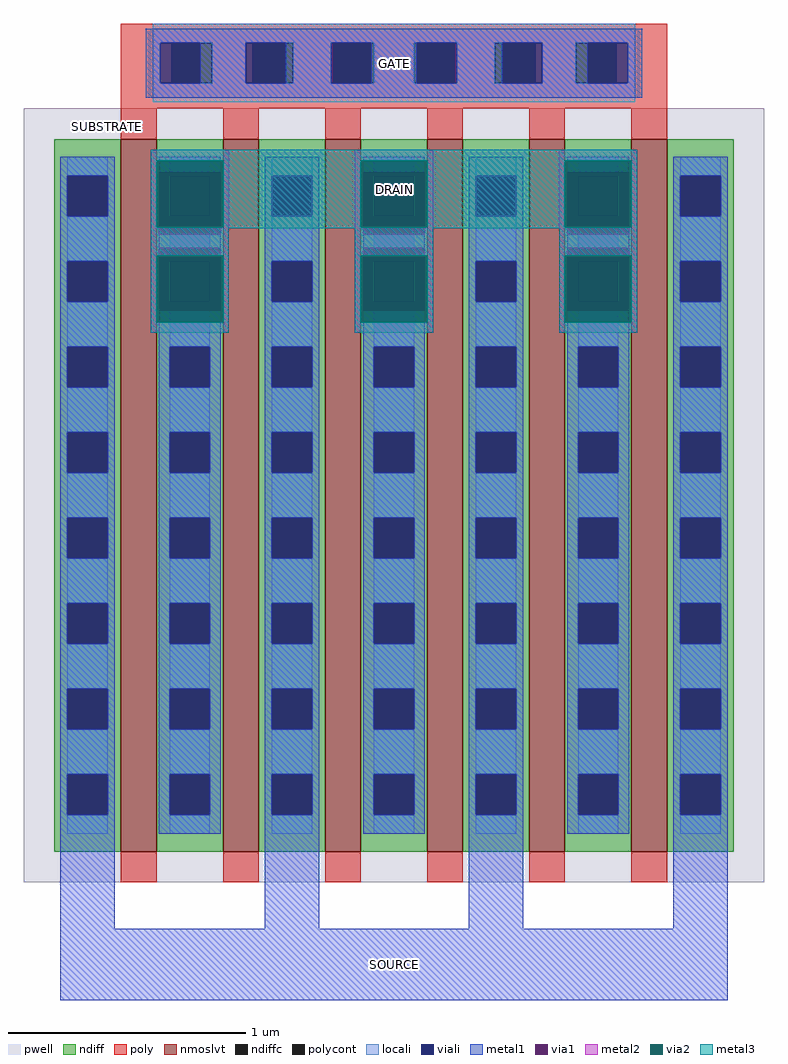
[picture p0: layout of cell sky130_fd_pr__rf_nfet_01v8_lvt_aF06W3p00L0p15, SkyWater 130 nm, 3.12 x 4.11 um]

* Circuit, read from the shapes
.subckt sky130_fd_pr__rf_nfet_01v8_lvt_aF06W3p00L0p15 DRAIN SOURCE GATE SUBSTRATE
XM1 DRAIN GATE SOURCE SUBSTRATE sky130_fd_pr__nfet_01v8_lvt w=3 l=0.15 m=6
.ends

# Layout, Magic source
magic
tech sky130A
magscale 1 2
<< pwell >>
rect 10 10 634 662
<< nmoslvt >>
rect 92 36 122 636
rect 178 36 208 636
rect 264 36 294 636
rect 350 36 380 636
rect 436 36 466 636
rect 522 36 552 636
<< ndiff >>
rect 36 605 92 636
rect 36 571 47 605
rect 81 571 92 605
rect 36 533 92 571
rect 36 499 47 533
rect 81 499 92 533
rect 36 461 92 499
rect 36 427 47 461
rect 81 427 92 461
rect 36 389 92 427
rect 36 355 47 389
rect 81 355 92 389
rect 36 317 92 355
rect 36 283 47 317
rect 81 283 92 317
rect 36 245 92 283
rect 36 211 47 245
rect 81 211 92 245
rect 36 173 92 211
rect 36 139 47 173
rect 81 139 92 173
rect 36 101 92 139
rect 36 67 47 101
rect 81 67 92 101
rect 36 36 92 67
rect 122 605 178 636
rect 122 571 133 605
rect 167 571 178 605
rect 122 533 178 571
rect 122 499 133 533
rect 167 499 178 533
rect 122 461 178 499
rect 122 427 133 461
rect 167 427 178 461
rect 122 389 178 427
rect 122 355 133 389
rect 167 355 178 389
rect 122 317 178 355
rect 122 283 133 317
rect 167 283 178 317
rect 122 245 178 283
rect 122 211 133 245
rect 167 211 178 245
rect 122 173 178 211
rect 122 139 133 173
rect 167 139 178 173
rect 122 101 178 139
rect 122 67 133 101
rect 167 67 178 101
rect 122 36 178 67
rect 208 605 264 636
rect 208 571 219 605
rect 253 571 264 605
rect 208 533 264 571
rect 208 499 219 533
rect 253 499 264 533
rect 208 461 264 499
rect 208 427 219 461
rect 253 427 264 461
rect 208 389 264 427
rect 208 355 219 389
rect 253 355 264 389
rect 208 317 264 355
rect 208 283 219 317
rect 253 283 264 317
rect 208 245 264 283
rect 208 211 219 245
rect 253 211 264 245
rect 208 173 264 211
rect 208 139 219 173
rect 253 139 264 173
rect 208 101 264 139
rect 208 67 219 101
rect 253 67 264 101
rect 208 36 264 67
rect 294 605 350 636
rect 294 571 305 605
rect 339 571 350 605
rect 294 533 350 571
rect 294 499 305 533
rect 339 499 350 533
rect 294 461 350 499
rect 294 427 305 461
rect 339 427 350 461
rect 294 389 350 427
rect 294 355 305 389
rect 339 355 350 389
rect 294 317 350 355
rect 294 283 305 317
rect 339 283 350 317
rect 294 245 350 283
rect 294 211 305 245
rect 339 211 350 245
rect 294 173 350 211
rect 294 139 305 173
rect 339 139 350 173
rect 294 101 350 139
rect 294 67 305 101
rect 339 67 350 101
rect 294 36 350 67
rect 380 605 436 636
rect 380 571 391 605
rect 425 571 436 605
rect 380 533 436 571
rect 380 499 391 533
rect 425 499 436 533
rect 380 461 436 499
rect 380 427 391 461
rect 425 427 436 461
rect 380 389 436 427
rect 380 355 391 389
rect 425 355 436 389
rect 380 317 436 355
rect 380 283 391 317
rect 425 283 436 317
rect 380 245 436 283
rect 380 211 391 245
rect 425 211 436 245
rect 380 173 436 211
rect 380 139 391 173
rect 425 139 436 173
rect 380 101 436 139
rect 380 67 391 101
rect 425 67 436 101
rect 380 36 436 67
rect 466 605 522 636
rect 466 571 477 605
rect 511 571 522 605
rect 466 533 522 571
rect 466 499 477 533
rect 511 499 522 533
rect 466 461 522 499
rect 466 427 477 461
rect 511 427 522 461
rect 466 389 522 427
rect 466 355 477 389
rect 511 355 522 389
rect 466 317 522 355
rect 466 283 477 317
rect 511 283 522 317
rect 466 245 522 283
rect 466 211 477 245
rect 511 211 522 245
rect 466 173 522 211
rect 466 139 477 173
rect 511 139 522 173
rect 466 101 522 139
rect 466 67 477 101
rect 511 67 522 101
rect 466 36 522 67
rect 552 605 608 636
rect 552 571 563 605
rect 597 571 608 605
rect 552 533 608 571
rect 552 499 563 533
rect 597 499 608 533
rect 552 461 608 499
rect 552 427 563 461
rect 597 427 608 461
rect 552 389 608 427
rect 552 355 563 389
rect 597 355 608 389
rect 552 317 608 355
rect 552 283 563 317
rect 597 283 608 317
rect 552 245 608 283
rect 552 211 563 245
rect 597 211 608 245
rect 552 173 608 211
rect 552 139 563 173
rect 597 139 608 173
rect 552 101 608 139
rect 552 67 563 101
rect 597 67 608 101
rect 552 36 608 67
<< ndiffc >>
rect 47 571 81 605
rect 47 499 81 533
rect 47 427 81 461
rect 47 355 81 389
rect 47 283 81 317
rect 47 211 81 245
rect 47 139 81 173
rect 47 67 81 101
rect 133 571 167 605
rect 133 499 167 533
rect 133 427 167 461
rect 133 355 167 389
rect 133 283 167 317
rect 133 211 167 245
rect 133 139 167 173
rect 133 67 167 101
rect 219 571 253 605
rect 219 499 253 533
rect 219 427 253 461
rect 219 355 253 389
rect 219 283 253 317
rect 219 211 253 245
rect 219 139 253 173
rect 219 67 253 101
rect 305 571 339 605
rect 305 499 339 533
rect 305 427 339 461
rect 305 355 339 389
rect 305 283 339 317
rect 305 211 339 245
rect 305 139 339 173
rect 305 67 339 101
rect 391 571 425 605
rect 391 499 425 533
rect 391 427 425 461
rect 391 355 425 389
rect 391 283 425 317
rect 391 211 425 245
rect 391 139 425 173
rect 391 67 425 101
rect 477 571 511 605
rect 477 499 511 533
rect 477 427 511 461
rect 477 355 511 389
rect 477 283 511 317
rect 477 211 511 245
rect 477 139 511 173
rect 477 67 511 101
rect 563 571 597 605
rect 563 499 597 533
rect 563 427 597 461
rect 563 355 597 389
rect 563 283 597 317
rect 563 211 597 245
rect 563 139 597 173
rect 563 67 597 101
<< poly >>
rect 92 717 552 733
rect 92 683 135 717
rect 169 683 203 717
rect 237 683 271 717
rect 305 683 339 717
rect 373 683 407 717
rect 441 683 475 717
rect 509 683 552 717
rect 92 662 552 683
rect 92 636 122 662
rect 178 636 208 662
rect 264 636 294 662
rect 350 636 380 662
rect 436 636 466 662
rect 522 636 552 662
rect 92 10 122 36
rect 178 10 208 36
rect 264 10 294 36
rect 350 10 380 36
rect 436 10 466 36
rect 522 10 552 36
<< polycont >>
rect 135 683 169 717
rect 203 683 237 717
rect 271 683 305 717
rect 339 683 373 717
rect 407 683 441 717
rect 475 683 509 717
<< locali >>
rect 119 717 525 733
rect 119 683 125 717
rect 169 683 197 717
rect 237 683 269 717
rect 305 683 339 717
rect 375 683 407 717
rect 447 683 475 717
rect 519 683 525 717
rect 119 667 525 683
rect 47 605 81 621
rect 47 533 81 571
rect 47 461 81 499
rect 47 389 81 427
rect 47 317 81 355
rect 47 245 81 283
rect 47 173 81 211
rect 47 101 81 139
rect 47 51 81 67
rect 133 605 167 621
rect 133 533 167 571
rect 133 461 167 499
rect 133 389 167 427
rect 133 317 167 355
rect 133 245 167 283
rect 133 173 167 211
rect 133 101 167 139
rect 133 51 167 67
rect 219 605 253 621
rect 219 533 253 571
rect 219 461 253 499
rect 219 389 253 427
rect 219 317 253 355
rect 219 245 253 283
rect 219 173 253 211
rect 219 101 253 139
rect 219 51 253 67
rect 305 605 339 621
rect 305 533 339 571
rect 305 461 339 499
rect 305 389 339 427
rect 305 317 339 355
rect 305 245 339 283
rect 305 173 339 211
rect 305 101 339 139
rect 305 51 339 67
rect 391 605 425 621
rect 391 533 425 571
rect 391 461 425 499
rect 391 389 425 427
rect 391 317 425 355
rect 391 245 425 283
rect 391 173 425 211
rect 391 101 425 139
rect 391 51 425 67
rect 477 605 511 621
rect 477 533 511 571
rect 477 461 511 499
rect 477 389 511 427
rect 477 317 511 355
rect 477 245 511 283
rect 477 173 511 211
rect 477 101 511 139
rect 477 51 511 67
rect 563 605 597 621
rect 563 533 597 571
rect 563 461 597 499
rect 563 389 597 427
rect 563 317 597 355
rect 563 245 597 283
rect 563 173 597 211
rect 563 101 597 139
rect 563 51 597 67
<< viali >>
rect 125 683 135 717
rect 135 683 159 717
rect 197 683 203 717
rect 203 683 231 717
rect 269 683 271 717
rect 271 683 303 717
rect 341 683 373 717
rect 373 683 375 717
rect 413 683 441 717
rect 441 683 447 717
rect 485 683 509 717
rect 509 683 519 717
rect 47 571 81 605
rect 47 499 81 533
rect 47 427 81 461
rect 47 355 81 389
rect 47 283 81 317
rect 47 211 81 245
rect 47 139 81 173
rect 47 67 81 101
rect 133 571 167 605
rect 133 499 167 533
rect 133 427 167 461
rect 133 355 167 389
rect 133 283 167 317
rect 133 211 167 245
rect 133 139 167 173
rect 133 67 167 101
rect 219 571 253 605
rect 219 499 253 533
rect 219 427 253 461
rect 219 355 253 389
rect 219 283 253 317
rect 219 211 253 245
rect 219 139 253 173
rect 219 67 253 101
rect 305 571 339 605
rect 305 499 339 533
rect 305 427 339 461
rect 305 355 339 389
rect 305 283 339 317
rect 305 211 339 245
rect 305 139 339 173
rect 305 67 339 101
rect 391 571 425 605
rect 391 499 425 533
rect 391 427 425 461
rect 391 355 425 389
rect 391 283 425 317
rect 391 211 425 245
rect 391 139 425 173
rect 391 67 425 101
rect 477 571 511 605
rect 477 499 511 533
rect 477 427 511 461
rect 477 355 511 389
rect 477 283 511 317
rect 477 211 511 245
rect 477 139 511 173
rect 477 67 511 101
rect 563 571 597 605
rect 563 499 597 533
rect 563 427 597 461
rect 563 355 597 389
rect 563 283 597 317
rect 563 211 597 245
rect 563 139 597 173
rect 563 67 597 101
<< metal1 >>
rect 113 717 531 729
rect 113 683 125 717
rect 159 683 197 717
rect 231 683 269 717
rect 303 683 341 717
rect 375 683 413 717
rect 447 683 485 717
rect 519 683 531 717
rect 113 671 531 683
rect 41 605 87 621
rect 41 571 47 605
rect 81 571 87 605
rect 41 533 87 571
rect 41 499 47 533
rect 81 499 87 533
rect 41 461 87 499
rect 41 427 47 461
rect 81 427 87 461
rect 41 389 87 427
rect 41 355 47 389
rect 81 355 87 389
rect 41 317 87 355
rect 41 283 47 317
rect 81 283 87 317
rect 41 245 87 283
rect 41 211 47 245
rect 81 211 87 245
rect 41 173 87 211
rect 41 139 47 173
rect 81 139 87 173
rect 41 101 87 139
rect 41 67 47 101
rect 81 67 87 101
rect 41 -29 87 67
rect 124 608 176 621
rect 124 544 176 556
rect 124 461 176 492
rect 124 427 133 461
rect 167 427 176 461
rect 124 389 176 427
rect 124 355 133 389
rect 167 355 176 389
rect 124 317 176 355
rect 124 283 133 317
rect 167 283 176 317
rect 124 245 176 283
rect 124 211 133 245
rect 167 211 176 245
rect 124 173 176 211
rect 124 139 133 173
rect 167 139 176 173
rect 124 101 176 139
rect 124 67 133 101
rect 167 67 176 101
rect 124 51 176 67
rect 213 605 259 621
rect 213 571 219 605
rect 253 571 259 605
rect 213 533 259 571
rect 213 499 219 533
rect 253 499 259 533
rect 213 461 259 499
rect 213 427 219 461
rect 253 427 259 461
rect 213 389 259 427
rect 213 355 219 389
rect 253 355 259 389
rect 213 317 259 355
rect 213 283 219 317
rect 253 283 259 317
rect 213 245 259 283
rect 213 211 219 245
rect 253 211 259 245
rect 213 173 259 211
rect 213 139 219 173
rect 253 139 259 173
rect 213 101 259 139
rect 213 67 219 101
rect 253 67 259 101
rect 213 -29 259 67
rect 296 608 348 621
rect 296 544 348 556
rect 296 461 348 492
rect 296 427 305 461
rect 339 427 348 461
rect 296 389 348 427
rect 296 355 305 389
rect 339 355 348 389
rect 296 317 348 355
rect 296 283 305 317
rect 339 283 348 317
rect 296 245 348 283
rect 296 211 305 245
rect 339 211 348 245
rect 296 173 348 211
rect 296 139 305 173
rect 339 139 348 173
rect 296 101 348 139
rect 296 67 305 101
rect 339 67 348 101
rect 296 51 348 67
rect 385 605 431 621
rect 385 571 391 605
rect 425 571 431 605
rect 385 533 431 571
rect 385 499 391 533
rect 425 499 431 533
rect 385 461 431 499
rect 385 427 391 461
rect 425 427 431 461
rect 385 389 431 427
rect 385 355 391 389
rect 425 355 431 389
rect 385 317 431 355
rect 385 283 391 317
rect 425 283 431 317
rect 385 245 431 283
rect 385 211 391 245
rect 425 211 431 245
rect 385 173 431 211
rect 385 139 391 173
rect 425 139 431 173
rect 385 101 431 139
rect 385 67 391 101
rect 425 67 431 101
rect 385 -29 431 67
rect 468 608 520 621
rect 468 544 520 556
rect 468 461 520 492
rect 468 427 477 461
rect 511 427 520 461
rect 468 389 520 427
rect 468 355 477 389
rect 511 355 520 389
rect 468 317 520 355
rect 468 283 477 317
rect 511 283 520 317
rect 468 245 520 283
rect 468 211 477 245
rect 511 211 520 245
rect 468 173 520 211
rect 468 139 477 173
rect 511 139 520 173
rect 468 101 520 139
rect 468 67 477 101
rect 511 67 520 101
rect 468 51 520 67
rect 557 605 603 621
rect 557 571 563 605
rect 597 571 603 605
rect 557 533 603 571
rect 557 499 563 533
rect 597 499 603 533
rect 557 461 603 499
rect 557 427 563 461
rect 597 427 603 461
rect 557 389 603 427
rect 557 355 563 389
rect 597 355 603 389
rect 557 317 603 355
rect 557 283 563 317
rect 597 283 603 317
rect 557 245 603 283
rect 557 211 563 245
rect 597 211 603 245
rect 557 173 603 211
rect 557 139 563 173
rect 597 139 603 173
rect 557 101 603 139
rect 557 67 563 101
rect 597 67 603 101
rect 557 -29 603 67
rect 41 -89 603 -29
<< via1 >>
rect 124 605 176 608
rect 124 571 133 605
rect 133 571 167 605
rect 167 571 176 605
rect 124 556 176 571
rect 124 533 176 544
rect 124 499 133 533
rect 133 499 167 533
rect 167 499 176 533
rect 124 492 176 499
rect 296 605 348 608
rect 296 571 305 605
rect 305 571 339 605
rect 339 571 348 605
rect 296 556 348 571
rect 296 533 348 544
rect 296 499 305 533
rect 305 499 339 533
rect 339 499 348 533
rect 296 492 348 499
rect 468 605 520 608
rect 468 571 477 605
rect 477 571 511 605
rect 511 571 520 605
rect 468 556 520 571
rect 468 533 520 544
rect 468 499 477 533
rect 477 499 511 533
rect 511 499 520 533
rect 468 492 520 499
<< metal2 >>
rect 117 618 183 627
rect 117 562 122 618
rect 178 562 183 618
rect 117 556 124 562
rect 176 556 183 562
rect 117 544 183 556
rect 117 538 124 544
rect 176 538 183 544
rect 117 482 122 538
rect 178 482 183 538
rect 117 473 183 482
rect 289 618 355 627
rect 289 562 294 618
rect 350 562 355 618
rect 289 556 296 562
rect 348 556 355 562
rect 289 544 355 556
rect 289 538 296 544
rect 348 538 355 544
rect 289 482 294 538
rect 350 482 355 538
rect 289 473 355 482
rect 461 618 527 627
rect 461 562 466 618
rect 522 562 527 618
rect 461 556 468 562
rect 520 556 527 562
rect 461 544 527 556
rect 461 538 468 544
rect 520 538 527 544
rect 461 482 466 538
rect 522 482 527 538
rect 461 473 527 482
<< via2 >>
rect 122 608 178 618
rect 122 562 124 608
rect 124 562 176 608
rect 176 562 178 608
rect 122 492 124 538
rect 124 492 176 538
rect 176 492 178 538
rect 122 482 178 492
rect 294 608 350 618
rect 294 562 296 608
rect 296 562 348 608
rect 348 562 350 608
rect 294 492 296 538
rect 296 492 348 538
rect 348 492 350 538
rect 294 482 350 492
rect 466 608 522 618
rect 466 562 468 608
rect 468 562 520 608
rect 520 562 522 608
rect 466 492 468 538
rect 468 492 520 538
rect 520 492 522 538
rect 466 482 522 492
<< metal3 >>
rect 117 618 527 627
rect 117 562 122 618
rect 178 562 294 618
rect 350 562 466 618
rect 522 562 527 618
rect 117 561 527 562
rect 117 538 183 561
rect 117 482 122 538
rect 178 482 183 538
rect 117 473 183 482
rect 289 538 355 561
rect 289 482 294 538
rect 350 482 355 538
rect 289 473 355 482
rect 461 538 527 561
rect 461 482 466 538
rect 522 482 527 538
rect 461 473 527 482
<< labels >>
flabel metal3 s 117 561 527 627 0 FreeSans 400 0 0 0 DRAIN
port 1 nsew
flabel metal1 s 41 -89 603 -29 0 FreeSans 400 0 0 0 SOURCE
port 2 nsew
flabel metal1 s 113 671 531 729 0 FreeSans 400 0 0 0 GATE
port 3 nsew
flabel pwell s 72 641 90 653 0 FreeSans 200 0 0 0 SUBSTRATE
port 4 nsew
<< properties >>
string GDS_FILE $PDKPATH/libs.ref/sky130_fd_pr/gds/sky130_fd_pr.gds
string GDS_END 5888666
string GDS_START 5873820
string path 1.600 15.525 1.600 -2.225 
<< end >>
